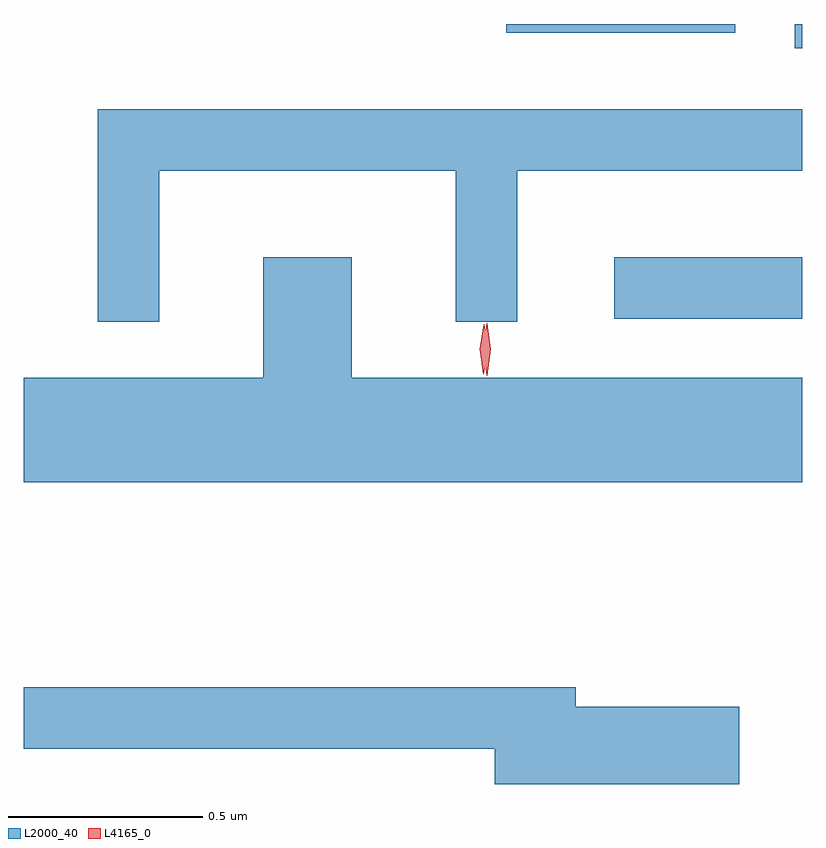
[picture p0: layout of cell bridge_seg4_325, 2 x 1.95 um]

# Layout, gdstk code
import gdstk
lib = gdstk.Library(unit=1e-6, precision=1e-09)
def R(c, l, rs):  # rectangles x0, y0, x1, y1
    for r in rs: c.add(gdstk.rectangle(r[:2], r[2:], *l))
def P(c, l, *ps):  # polygons
    for p in ps: c.add(gdstk.Polygon(p, *l))
L2000_40 = (2000, 40)
L4165_0 = (4165, 0)

bridge_seg4_325 = lib.new_cell('bridge_seg4_325')
R(bridge_seg4_325, L2000_40, [(726.913,1319.576,727.396,1319.734), (727.376,1320.271,727.396,1320.333), (726.636,1320.311,727.224,1320.333)])
P(bridge_seg4_325, L2000_40, [(725.744,1319.956),(726.506,1319.956),(726.506,1319.568),(726.664,1319.568),(726.664,1319.956),(727.396,1319.956),(727.396,1320.114),(725.586,1320.114),(725.586,1319.568),(725.744,1319.568)],
  [(727.396,1319.424),(726.239,1319.424),(726.239,1319.734),(726.011,1319.734),(726.011,1319.424),(725.396,1319.424),(725.396,1319.156),(727.396,1319.156)],
  [(727.234,1318.579),(726.814,1318.579),(726.814,1318.629),(725.396,1318.629),(725.396,1318.471),(726.606,1318.471),(726.606,1318.381),(727.234,1318.381)])
P(bridge_seg4_325, L4165_0, [(726.586,1319.428),(726.586,1319.429),(726.576,1319.497),(726.586,1319.565),(726.586,1319.565),(726.587,1319.565),(726.596,1319.497),(726.587,1319.429)],
  [(726.578,1319.433),(726.577,1319.434),(726.568,1319.498),(726.578,1319.562),(726.579,1319.562),(726.579,1319.562),(726.588,1319.497),(726.578,1319.434)])

lib.write_gds('bridge_seg4_325.gds')
